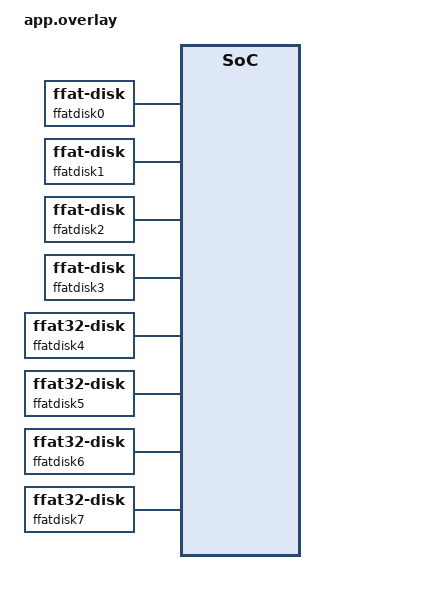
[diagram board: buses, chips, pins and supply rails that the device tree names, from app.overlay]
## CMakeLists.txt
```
# Copyright (c) 2023 Nordic Semiconductor ASA
# SPDX-License-Identifier: Apache-2.0

cmake_minimum_required(VERSION 3.28.0)

find_package(Zephyr REQUIRED HINTS $ENV{ZEPHYR_BASE})
project(test_ffat)

target_sources(app PRIVATE
    src/main.c
)
```

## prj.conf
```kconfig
# Copyright (c) 2023 Nordic Semiconductor ASA
# SPDX-License-Identifier: Apache-2.0

CONFIG_LOG=y
CONFIG_ZTEST=y

CONFIG_DISK_ACCESS=y
CONFIG_FILE_SYSTEM=y
CONFIG_FAT_FILESYSTEM_ELM=y
CONFIG_FS_FATFS_MOUNT_MKFS=n
CONFIG_FS_FATFS_MIN_SS=512
CONFIG_FS_FATFS_MAX_SS=4096
CONFIG_FS_FATFS_CUSTOM_MOUNT_POINT_COUNT=8
CONFIG_FS_FATFS_CUSTOM_MOUNT_POINTS="RAM,NAND,CF,SD,SD2,USB,USB2,USB3"
```

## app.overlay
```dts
/*
 * Copyright (c) 2023 Nordic Semiconductor ASA
 *
 * SPDX-License-Identifier: Apache-2.0
 */

/ {
	ffatdisk0 {
		compatible = "zephyr,ffat-disk";
		disk-name = "RAM";
		sector-size = <512>;
		sector-count = <32680>;
		sector-per-cluster = <1>;
	};

	ffatdisk1 {
		compatible = "zephyr,ffat-disk";
		disk-name = "NAND";
		sector-size = <512>;
		sector-count = <262144>;
		sector-per-cluster = <4>;
	};

	ffatdisk2 {
		compatible = "zephyr,ffat-disk";
		disk-name = "CF";
		sector-size = <1024>;
		sector-count = <524288>;
		sector-per-cluster = <8>;
	};

	ffatdisk3 {
		compatible = "zephyr,ffat-disk";
		disk-name = "SD";
		sector-size = <4096>;
		sector-count = <1048576>;
		sector-per-cluster = <32>;
	};

	ffatdisk4 {
		compatible = "zephyr,ffat32-disk", "zephyr,ffat-disk";
		disk-name = "SD2";
		sector-size = <512>;
		sector-count = <131072>;
		sector-per-cluster = <1>;
	};

	ffatdisk5 {
		compatible = "zephyr,ffat32-disk", "zephyr,ffat-disk";
		disk-name = "USB";
		sector-size = <512>;
		sector-count = <524288>;
		sector-per-cluster = <4>;
	};

	ffatdisk6 {
		compatible = "zephyr,ffat32-disk", "zephyr,ffat-disk";
		disk-name = "USB2";
		sector-size = <1024>;
		sector-count = <1048576>;
		sector-per-cluster = <8>;
	};

	ffatdisk7 {
		compatible = "zephyr,ffat32-disk", "zephyr,ffat-disk";
		disk-name = "USB3";
		sector-size = <4096>;
		sector-count = <16777216>;
		sector-per-cluster = <64>;
	};
};
```

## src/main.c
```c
/*
 * Copyright (c) 2023 Nordic Semiconductor ASA
 *
 * SPDX-License-Identifier: Apache-2.0
 */

#include <ff.h>
#include <string.h>
#include <zephyr/ztest.h>
#include <zephyr/fs/fs.h>
#include <zephyr/sys/byteorder.h>
#include <zephyr/storage/disk_access.h>
#include <zephyr/storage/ffatdisk.h>

#include <zephyr/logging/log.h>
LOG_MODULE_REGISTER(ffat_test, LOG_LEVEL_INF);

const char txt_test_file[] =
	"Zephyr RTOS\n"
	"Board " CONFIG_BOARD "\n"
	"Arch "CONFIG_ARCH "\n";

struct binblock {
	uint32_t s_tag;
	uint32_t b_num;
	uint8_t reserved[500];
	uint32_t e_tag;
} __packed;

BUILD_ASSERT(sizeof(struct binblock) == 512U);

static struct binblock last_bb;
static uint32_t wr_cb_anchors;
static uint32_t wr_cb_flushes;

/* Boot sector fields, offsets fixed by the FAT specification */
#define BS_RSVD_SEC_CNT		14U
#define BS_FAT_SZ16		22U
#define BS_NTRES		37U
#define BS_NTRES32		65U

#define FAT_STATE_DIRTY		BIT(0)
#define FAT16_CLN_SHUT		BIT(15)
#define FAT32_CLN_SHUT		BIT(27)

#define BF0_SIZE	(512UL * 32408UL)
#define BF1_SIZE	(2048UL * 65406UL)
#define BF2_SIZE	(8192UL * 65502UL)
#define BF3_SIZE	(131072UL * 32765UL)

#define BF4_SIZE	(512UL * 129004UL)
#define BF5_SIZE	(2048UL * 130553UL)
#define BF6_SIZE	(8192UL * 130939UL)
#define BF7_SIZE	UINT32_MAX

static int textfile_rd_cb(struct ffat_file *const f, const uint32_t block,
			  uint8_t *const buf, const uint32_t size)
{
	const uint32_t f_off = size * block;

	if (f->size > f_off) {
		uint32_t len = MIN(f->size - f_off, size);

		memcpy(buf, (uint8_t *)f->priv + f_off, len);
		LOG_DBG("Read %u bytes, block %u file offset %u, f->size %u",
			len, block, f_off, f->size);
	} else {
		LOG_INF("Offset (%u) is outside of file range (%u)", f_off, f->size);
	}

	return 0;
}

static int binfile_rd_cb(struct ffat_file *const f, const uint32_t block,
			 uint8_t *const buf, const uint32_t size)
{
	const uint32_t f_off = size * block;

	if (f->size > f_off) {
		uint32_t len = MIN(f->size - f_off, size);
		struct binblock *bb = (void *)buf;

		bb->s_tag = sys_cpu_to_le32(0xDECAFBAD);
		bb->b_num = sys_cpu_to_le32(block);
		bb->e_tag = sys_cpu_to_le32(0xDEADDA7A);

		LOG_DBG("Read %u bytes, block %u file offset %u, f->size %u",
			len, block, f_off, f->size);
	} else {
		LOG_INF("Offset (%u) is outside of file range (%u)", f_off, f->size);
	}

	return 0;
}

static int binfile_wr_cb(struct ffat_file *const f, const uint32_t block,
			 const uint8_t *const buf, const uint32_t size)
{
	const struct binblock *bb = (const void *)buf;
	const uint32_t f_off = size * block;

	if (buf == NULL) {
		LOG_INF("Host flushed the volume");
		wr_cb_flushes++;

		return 0;
	}

	if (sys_le32_to_cpu(bb->s_tag) != 0xDEADDA7A ||
	    sys_le32_to_cpu(bb->e_tag) != 0xDECAFBAD) {
		/* Not our payload */
		return -ENODATA;
	}

	if (sys_le32_to_cpu(bb->b_num) == 0U) {
		/* Start of a payload */
		memcpy(&last_bb, buf, MIN(size, sizeof(last_bb)));
		wr_cb_anchors++;

		return 1;
	}

	if (sys_le32_to_cpu(bb->b_num) != block) {
		LOG_ERR("Block index mismatch: block %u, payload block %u",
			block, sys_le32_to_cpu(bb->b_num));

		return -EINVAL;
	}

	if (f->size > f_off) {
		uint32_t len = MIN(f->size - f_off, size);

		memcpy(&last_bb, buf, MIN(len, sizeof(last_bb)));

		LOG_DBG("Write %u bytes, block %u file offset %u, f->size %u",
			len, block, f_off, f->size);
	} else {
		LOG_ERR("Offset (%u) is outside of file range (%u)", f_off, f->size);
	}

	return 0;
}

FFAT_FILE_DEFINE(test1, "RAM", "TEST_001TXT", sizeof(txt_test_file),
		 textfile_rd_cb, NULL, txt_test_file);
FFAT_FILE_DEFINE(test2, "RAM", "TEST_002TXT", sizeof(txt_test_file),
		 textfile_rd_cb, NULL, txt_test_file);
FFAT_FILE_DEFINE(test3, "RAM", "TEST_003TXT", sizeof(txt_test_file),
		 textfile_rd_cb, NULL, txt_test_file);
FFAT_FILE_DEFINE(test4, "RAM", "TEST_004TXT", sizeof(txt_test_file),
		 textfile_rd_cb, NULL, txt_test_file);
FFAT_FILE_DEFINE(test5, "RAM", "TEST_005TXT", sizeof(txt_test_file),
		 textfile_rd_cb, NULL, txt_test_file);
FFAT_FILE_DEFINE(test6, "RAM", "TEST_006TXT", sizeof(txt_test_file),
		 textfile_rd_cb, NULL, txt_test_file);
FFAT_FILE_DEFINE(test7, "RAM", "TEST_007TXT", sizeof(txt_test_file),
		 textfile_rd_cb, NULL, txt_test_file);
FFAT_FILE_DEFINE(test8, "RAM", "TEST_008TXT", sizeof(txt_test_file),
		 textfile_rd_cb, NULL, txt_test_file);
FFAT_FILE_DEFINE(test9, "RAM", "TEST_009TXT", sizeof(txt_test_file),
		 textfile_rd_cb, NULL, txt_test_file);
FFAT_FILE_DEFINE(test10, "RAM", "TEST_010TXT", sizeof(txt_test_file),
		 textfile_rd_cb, NULL, txt_test_file);
FFAT_FILE_DEFINE(test11, "RAM", "TEST_011TXT", sizeof(txt_test_file),
		 textfile_rd_cb, NULL, txt_test_file);
FFAT_FILE_DEFINE(test12, "RAM", "TEST_012TXT", sizeof(txt_test_file),
		 textfile_rd_cb, NULL, txt_test_file);
FFAT_FILE_DEFINE(test13, "RAM", "TEST_013TXT", sizeof(txt_test_file),
		 textfile_rd_cb, NULL, txt_test_file);
FFAT_FILE_DEFINE(test14, "RAM", "TEST_014TXT", sizeof(txt_test_file),
		 textfile_rd_cb, NULL, txt_test_file);
FFAT_FILE_DEFINE(test15, "RAM", "TEST_000BIN", BF0_SIZE,
		 binfile_rd_cb, binfile_wr_cb, NULL);

FFAT_FILE_DEFINE(test16, "NAND", "TEST_001BIN", BF1_SIZE,
		 binfile_rd_cb, binfile_wr_cb, NULL);
FFAT_FILE_DEFINE(test17, "NAND", "TEST_001TXT", sizeof(txt_test_file),
		 textfile_rd_cb, NULL, txt_test_file);

FFAT_FILE_DEFINE(test18, "CF", "TEST_002BIN", BF2_SIZE,
		 binfile_rd_cb, binfile_wr_cb, NULL);
FFAT_FILE_DEFINE(test19, "CF", "TEST_001TXT", sizeof(txt_test_file),
		 textfile_rd_cb, NULL, txt_test_file);

FFAT_FILE_DEFINE(test20, "SD", "TEST_003BIN", BF3_SIZE,
		 binfile_rd_cb, binfile_wr_cb, NULL);
FFAT_FILE_DEFINE(test21, "SD", "TEST_001TXT", sizeof(txt_test_file),
		 textfile_rd_cb, NULL, txt_test_file);

FFAT_FILE_DEFINE(test22, "SD2", "TEST_004BIN", BF4_SIZE,
		 binfile_rd_cb, binfile_wr_cb, NULL);
FFAT_FILE_DEFINE(test23, "SD2", "TEST_001TXT", sizeof(txt_test_file),
		 textfile_rd_cb, NULL, txt_test_file);

FFAT_FILE_DEFINE(test24, "USB", "TEST_005BIN", BF5_SIZE,
		 binfile_rd_cb, binfile_wr_cb, NULL);
FFAT_FILE_DEFINE(test25, "USB", "TEST_001TXT", sizeof(txt_test_file),
		 textfile_rd_cb, NULL, txt_test_file);

FFAT_FILE_DEFINE(test26, "USB2", "TEST_006BIN", BF6_SIZE,
		 binfile_rd_cb, binfile_wr_cb, NULL);
FFAT_FILE_DEFINE(test27, "USB2", "TEST_001TXT", sizeof(txt_test_file),
		 textfile_rd_cb, NULL, txt_test_file);

FFAT_FILE_DEFINE(test28, "USB3", "TEST_007BIN", BF7_SIZE,
		 binfile_rd_cb, binfile_wr_cb, NULL);
FFAT_FILE_DEFINE(test29, "USB3", "TEST_001TXT", sizeof(txt_test_file),
		 textfile_rd_cb, NULL, txt_test_file);

static union {
	struct binblock bb;
	uint8_t a[4096];
} ffat_test_buf;

static FATFS fatfs[8];

static struct fs_mount_t mnt0 = {
	.type = FS_FATFS,
	.mnt_point = "/RAM:",
	.fs_data = &fatfs[0],
};

static struct fs_mount_t mnt1 = {
	.type = FS_FATFS,
	.mnt_point = "/NAND:",
	.fs_data = &fatfs[1],
};

static struct fs_mount_t mnt2 = {
	.type = FS_FATFS,
	.mnt_point = "/CF:",
	.fs_data = &fatfs[2],
};

static struct fs_mount_t mnt3 = {
	.type = FS_FATFS,
	.mnt_point = "/SD:",
	.fs_data = &fatfs[3],
};

static struct fs_mount_t mnt4 = {
	.type = FS_FATFS,
	.mnt_point = "/SD2:",
	.fs_data = &fatfs[4],
};

static struct fs_mount_t mnt5 = {
	.type = FS_FATFS,
	.mnt_point = "/USB:",
	.fs_data = &fatfs[5],
};

static struct fs_mount_t mnt6 = {
	.type = FS_FATFS,
	.mnt_point = "/USB2:",
	.fs_data = &fatfs[6],
};

static struct fs_mount_t mnt7 = {
	.type = FS_FATFS,
	.mnt_point = "/USB3:",
	.fs_data = &fatfs[7],
};

struct ffat_file_info {
	const char *path;
	fs_mode_t flags;
	size_t size;
};

const struct ffat_file_info file_path0[] = {
	{.path = "/RAM:/TEST_001.TXT", .flags = FS_O_READ, .size = 0,},
	{.path = "/RAM:/TEST_002.TXT", .flags = FS_O_READ, .size = 0,},
	{.path = "/RAM:/TEST_003.TXT", .flags = FS_O_READ, .size = 0,},
	{.path = "/RAM:/TEST_004.TXT", .flags = FS_O_READ, .size = 0,},
	{.path = "/RAM:/TEST_005.TXT", .flags = FS_O_READ, .size = 0,},
	{.path = "/RAM:/TEST_006.TXT", .flags = FS_O_READ, .size = 0,},
	{.path = "/RAM:/TEST_007.TXT", .flags = FS_O_READ, .size = 0,},
	{.path = "/RAM:/TEST_008.TXT", .flags = FS_O_READ, .size = 0,},
	{.path = "/RAM:/TEST_009.TXT", .flags = FS_O_READ, .size = 0,},
	{.path = "/RAM:/TEST_010.TXT", .flags = FS_O_READ, .size = 0,},
	{.path = "/RAM:/TEST_011.TXT", .flags = FS_O_READ, .size = 0,},
	{.path = "/RAM:/TEST_012.TXT", .flags = FS_O_READ, .size = 0,},
	{.path = "/RAM:/TEST_013.TXT", .flags = FS_O_READ, .size = 0,},
	{.path = "/RAM:/TEST_014.TXT", .flags = FS_O_READ, .size = 0,},
	{.path = "/RAM:/TEST_000.BIN", .flags = FS_O_RDWR, .size = BF0_SIZE,},
};

const struct ffat_file_info file_path1[] = {
	{.path = "/NAND:/TEST_001.TXT", .flags = FS_O_READ, .size = 0,},
	{.path = "/NAND:/TEST_001.BIN", .flags = FS_O_RDWR, .size = BF1_SIZE},
};

const struct ffat_file_info file_path2[] = {
	{.path = "/CF:/TEST_001.TXT", .flags = FS_O_READ, .size = 0,},
	{.path = "/CF:/TEST_002.BIN", .flags = FS_O_RDWR, .size = BF2_SIZE},
};

const struct ffat_file_info file_path3[] = {
	{.path = "/SD:/TEST_001.TXT", .flags = FS_O_READ, .size = 0,},
	{.path = "/SD:/TEST_003.BIN", .flags = FS_O_RDWR, .size = BF3_SIZE},
};

const struct ffat_file_info file_path4[] = {
	{.path = "/SD2:/TEST_001.TXT", .flags = FS_O_READ, .size = 0,},
	{.path = "/SD2:/TEST_004.BIN", .flags = FS_O_RDWR, .size = BF4_SIZE},
};

const struct ffat_file_info file_path5[] = {
	{.path = "/USB:/TEST_001.TXT", .flags = FS_O_READ, .size = 0,},
	{.path = "/USB:/TEST_005.BIN", .flags = FS_O_RDWR, .size = BF5_SIZE},
};

const struct ffat_file_info file_path6[] = {
	{.path = "/USB2:/TEST_001.TXT", .flags = FS_O_READ, .size = 0,},
	{.path = "/USB2:/TEST_006.BIN", .flags = FS_O_RDWR, .size = BF6_SIZE},
};

const struct ffat_file_info file_path7[] = {
	{.path = "/USB3:/TEST_001.TXT", .flags = FS_O_READ, .size = 0,},
	{.path = "/USB3:/TEST_007.BIN", .flags = FS_O_RDWR, .size = BF7_SIZE},
};

static int test_mount_ffat_disk(struct fs_mount_t *const mnt)
{
	int err = 0;

	mnt->flags = FS_MOUNT_FLAG_NO_FORMAT;
	err = fs_mount(mnt);

	if (err < 0) {
		TC_PRINT("Failed to open ffat disk %s (%d)\n",
			 mnt->mnt_point, err);
		return TC_FAIL;
	}

	return TC_PASS;
}

static int test_umount_ffat_disk(struct fs_mount_t *const mnt)
{
	int err = 0;

	err = fs_unmount(mnt);

	if (err < 0) {
		TC_PRINT("Failed to unmount ffat disk %s (%d)\n",
			 mnt->mnt_point, err);
		return TC_FAIL;
	}

	return TC_PASS;
}

static int ffat_test_open(struct fs_file_t *const f,
			  const struct ffat_file_info *const finfo)
{
	struct fs_dirent entry;
	int err;

	err = fs_stat(finfo->path, &entry);
	if (err) {
		return TC_FAIL;
	}

	err = fs_open(f, finfo->path, finfo->flags);
	if (err) {
		TC_PRINT("Failed to open file %s (%d)\n", finfo->path, err);
		return err;
	}

	return err;
}

static int test_file_rw_bin(struct fs_file_t *const f,
			    const size_t fsize, const size_t bsize)
{
	const uint32_t blocks  = fsize / bsize;
	ssize_t len;
	int err;

	err = fs_seek(f, 0, FS_SEEK_SET);
	if (err) {
		TC_PRINT("Failed to reset file position (%d)\n", err);
		return err;
	}

	TC_PRINT("File size: %zu, block size: %zu, blocks: %u\n", fsize, bsize, blocks);

	for (uint32_t n = 0; n < blocks; n++) {
		len = fs_read(f, ffat_test_buf.a, MIN(bsize, sizeof(ffat_test_buf)));
		if (len != bsize) {
			TC_PRINT("Failed to read file block %u (%zd)\n", n, len);
			return len;
		}

		/* Verify that the file block was read successfully */
		if (sys_le32_to_cpu(ffat_test_buf.bb.s_tag) != 0xDECAFBAD ||
		    sys_le32_to_cpu(ffat_test_buf.bb.b_num) != n ||
		    sys_le32_to_cpu(ffat_test_buf.bb.e_tag) != 0xDEADDA7A) {
			TC_PRINT("r %u: s_tag %u b_num %u e_tag %u\n",
				 n,
				 sys_le32_to_cpu(ffat_test_buf.bb.s_tag),
				 sys_le32_to_cpu(ffat_test_buf.bb.b_num),
				 sys_le32_to_cpu(ffat_test_buf.bb.e_tag));
			return TC_FAIL;
		}
	}

	err = fs_seek(f, 0, FS_SEEK_SET);
	if (err) {
		TC_PRINT("Reset file position failed (%d)\n", err);
		return err;
	}

	for (uint32_t n = 0; n < blocks; n++) {
		ffat_test_buf.bb.s_tag = sys_cpu_to_le32(0xDEADDA7A);
		ffat_test_buf.bb.b_num = sys_cpu_to_le32(n);
		ffat_test_buf.bb.e_tag = sys_cpu_to_le32(0xDECAFBAD);

		len = fs_write(f, ffat_test_buf.a, MIN(bsize, sizeof(ffat_test_buf)));
		if (len != bsize) {
			TC_PRINT("Failed to write file block %u (%zd)\n", n, len);
			return len;
		}

		/* Verify that writing to the file block was successful */
		if (sys_le32_to_cpu(last_bb.s_tag) != 0xDEADDA7A ||
		    sys_le32_to_cpu(last_bb.b_num) != n ||
		    sys_le32_to_cpu(last_bb.e_tag) != 0xDECAFBAD) {
			TC_PRINT("w %u: s_tag %u b_num %u e_tag %u\n",
				 n,
				 sys_le32_to_cpu(last_bb.s_tag),
				 sys_le32_to_cpu(last_bb.b_num),
				 sys_le32_to_cpu(last_bb.e_tag));
			return TC_FAIL;
		}
	}

	return TC_PASS;
}

static int test_file_r_txt(struct fs_file_t *const f)
{
	ssize_t len;
	int err;

	err = fs_seek(f, 0, FS_SEEK_SET);
	if (err) {
		TC_PRINT("Reset file position failed (%d)\n", err);
		return err;
	}

	memset(ffat_test_buf.a, 0, sizeof(ffat_test_buf));

	len = fs_read(f, ffat_test_buf.a, sizeof(txt_test_file));
	if (len < 0) {
		TC_PRINT("Failed to read txt file (%zd)\n", len);
		return len;
	}

	if (memcmp(txt_test_file, ffat_test_buf.a, sizeof(txt_test_file))) {
		TC_PRINT("The read file differs from the original %s\n", ffat_test_buf.a);
		return TC_FAIL;
	}

	return TC_PASS;
}

/*
 * A file created by the host is placed in clusters that no FFAT file owns.
 * It requires a free root directory entry and free clusters on the disk.
 * The test is for the path where the backend anchors the payload itself.
 */
static int test_file_w_stream(struct fs_mount_t *const mnt, const char *const path)
{
	struct fs_file_t filep;
	struct fs_statvfs stat;
	size_t bsize;
	ssize_t len;
	int err;

	err = test_mount_ffat_disk(mnt);
	if (err) {
		return err;
	}

	err = fs_statvfs(mnt->mnt_point, &stat);
	if (err) {
		TC_PRINT("Failed to retrieve vfs statistics (%d)\n", err);
		return err;
	}

	bsize = stat.f_bsize;
	wr_cb_anchors = 0;
	memset(&filep, 0, sizeof(filep));

	err = fs_open(&filep, path, FS_O_CREATE | FS_O_WRITE);
	if (err) {
		TC_PRINT("Failed to create file %s (%d)\n", path, err);
		return err;
	}

	for (uint32_t n = 0; n < 4U; n++) {
		memset(ffat_test_buf.a, 0, sizeof(ffat_test_buf));
		ffat_test_buf.bb.s_tag = sys_cpu_to_le32(0xDEADDA7A);
		ffat_test_buf.bb.b_num = sys_cpu_to_le32(n);
		ffat_test_buf.bb.e_tag = sys_cpu_to_le32(0xDECAFBAD);

		len = fs_write(&filep, ffat_test_buf.a, MIN(bsize, sizeof(ffat_test_buf)));
		if (len != bsize) {
			TC_PRINT("Failed to write block %u (%zd)\n", n, len);
			fs_close(&filep);
			return TC_FAIL;
		}
	}

	fs_close(&filep);

	/* Only the payload start is anchored */
	if (wr_cb_anchors != 1U) {
		TC_PRINT("Payload anchored %u times\n", wr_cb_anchors);
		return TC_FAIL;
	}

	err = test_umount_ffat_disk(mnt);
	if (err) {
		return err;
	}

	return TC_PASS;
}

/* A block without the payload framing must not fail the host write */
static int test_file_w_unframed(struct fs_mount_t *const mnt, const char *const path)
{
	struct fs_file_t filep;
	struct fs_statvfs stat;
	size_t bsize;
	ssize_t len;
	int err;

	err = test_mount_ffat_disk(mnt);
	if (err) {
		return err;
	}

	err = fs_statvfs(mnt->mnt_point, &stat);
	if (err) {
		TC_PRINT("Failed to retrieve vfs statistics (%d)\n", err);
		return err;
	}

	bsize = stat.f_bsize;
	wr_cb_anchors = 0;
	memset(&last_bb, 0, sizeof(last_bb));
	memset(ffat_test_buf.a, 0xA5, sizeof(ffat_test_buf));
	memset(&filep, 0, sizeof(filep));

	err = fs_open(&filep, path, FS_O_CREATE | FS_O_WRITE);
	if (err) {
		TC_PRINT("Failed to open file %s (%d)\n", path, err);
		return err;
	}

	len = fs_write(&filep, ffat_test_buf.a, MIN(bsize, sizeof(ffat_test_buf)));
	fs_close(&filep);

	if (len != bsize) {
		TC_PRINT("Failed to write unframed block (%zd)\n", len);
		return TC_FAIL;
	}

	if (wr_cb_anchors != 0U) {
		TC_PRINT("Unframed block anchored a payload\n");
		return TC_FAIL;
	}

	if (last_bb.s_tag != 0U) {
		TC_PRINT("Unframed block was consumed\n");
		return TC_FAIL;
	}

	err = test_umount_ffat_disk(mnt);
	if (err) {
		return err;
	}

	return TC_PASS;
}

static bool ffat_bs_is_fat32(const uint8_t *const bs)
{
	return sys_get_le16(&bs[BS_FAT_SZ16]) == 0U;
}

/*
 * ELF FAT does not allow the dirty flag to be set. Test it directly using
 * disk_access_write().
 */
static int test_dirty_flag_bs(const char *const disk)
{
	const uint32_t flushes = wr_cb_flushes;
	uint8_t *const bs = ffat_test_buf.a;
	uint32_t off;
	int err;

	err = disk_access_init(disk);
	if (err) {
		TC_PRINT("Failed to init disk %s (%d)\n", disk, err);
		return TC_FAIL;
	}

	err = disk_access_read(disk, bs, 0U, 1U);
	if (err) {
		TC_PRINT("Failed to read boot sector (%d)\n", err);
		return TC_FAIL;
	}

	off = ffat_bs_is_fat32(bs) ? BS_NTRES32 : BS_NTRES;

	/* Mark dirty first */
	bs[off] |= FAT_STATE_DIRTY;
	err = disk_access_write(disk, bs, 0U, 1U);
	if (err) {
		TC_PRINT("Failed to write boot sector (%d)\n", err);
		return TC_FAIL;
	}

	if (wr_cb_flushes != flushes) {
		TC_PRINT("Setting the dirty flag must not notify the backend\n");
		return TC_FAIL;
	}

	bs[off] &= ~FAT_STATE_DIRTY;
	err = disk_access_write(disk, bs, 0U, 1U);
	if (err) {
		TC_PRINT("Failed to write boot sector (%d)\n", err);
		return TC_FAIL;
	}

	if (wr_cb_flushes != flushes + 1U) {
		TC_PRINT("Cleaning the dirty flag must notify the backend\n");
		return TC_FAIL;
	}

	return disk_access_ioctl(disk, DISK_IOCTL_CTRL_DEINIT, NULL);
}

/*
 * ELF FAT does not allow the clean bit to be set. Test it directly using
 * disk_access_write().
 */
static int test_dirty_flag_fat(const char *const disk)
{
	const uint32_t flushes = wr_cb_flushes;
	uint8_t *const buf = ffat_test_buf.a;
	uint32_t fat1_start;
	bool fat32;
	int err;

	err = disk_access_init(disk);
	if (err) {
		TC_PRINT("Failed to init disk %s (%d)\n", disk, err);
		return TC_FAIL;
	}

	err = disk_access_read(disk, buf, 0U, 1U);
	if (err) {
		TC_PRINT("Failed to read boot sector (%d)\n", err);
		return TC_FAIL;
	}

	fat32 = ffat_bs_is_fat32(buf);
	fat1_start = sys_get_le16(&buf[BS_RSVD_SEC_CNT]);

	err = disk_access_read(disk, buf, fat1_start, 1U);
	if (err) {
		TC_PRINT("Failed to read FAT sector 0 (%d)\n", err);
		return TC_FAIL;
	}

	/* FAT[1] follows FAT[0], clearing the clean bit marks the volume dirty */
	if (fat32) {
		sys_put_le32(sys_get_le32(&buf[4]) & ~FAT32_CLN_SHUT, &buf[4]);
	} else {
		sys_put_le16(sys_get_le16(&buf[2]) & ~FAT16_CLN_SHUT, &buf[2]);
	}

	err = disk_access_write(disk, buf, fat1_start, 1U);
	if (err) {
		TC_PRINT("Failed to write FAT sector 0 (%d)\n", err);
		return TC_FAIL;
	}

	if (wr_cb_flushes != flushes) {
		TC_PRINT("Clearing the clean bit must not notify the backend\n");
		return TC_FAIL;
	}

	if (fat32) {
		sys_put_le32(sys_get_le32(&buf[4]) | FAT32_CLN_SHUT, &buf[4]);
	} else {
		sys_put_le16(sys_get_le16(&buf[2]) | FAT16_CLN_SHUT, &buf[2]);
	}

	err = disk_access_write(disk, buf, fat1_start, 1U);
	if (err) {
		TC_PRINT("Failed to write FAT sector 0 (%d)\n", err);
		return TC_FAIL;
	}

	if (wr_cb_flushes != flushes + 1U) {
		TC_PRINT("Setting the clean bit must notify the backend\n");
		return TC_FAIL;
	}

	return disk_access_ioctl(disk, DISK_IOCTL_CTRL_DEINIT, NULL);
}

static int test_files_rw(struct fs_mount_t *const mnt,
			 const struct ffat_file_info *const finfo, const size_t size)
{
	struct fs_file_t filep;
	struct fs_statvfs stat;
	int err;

	err = test_mount_ffat_disk(mnt);
	if (err) {
		return err;
	}

	err = fs_statvfs(mnt->mnt_point, &stat);
	if (err) {
		TC_PRINT("Failed to retrieve vfs statistics (%d)\n", err);
		return err;
	}

	TC_PRINT("FS block size: %u (cluster size: %u), fs blocks: %u\n",
		 stat.f_bsize, stat.f_frsize, stat.f_blocks);

	for (int i = 0; i < size; i++) {
		memset(&filep, 0, sizeof(filep));

		err = ffat_test_open(&filep, &finfo[i]);
		if (err) {
			return err;
		}

		if (finfo[i].flags == FS_O_RDWR) {
			err = test_file_rw_bin(&filep, finfo[i].size, stat.f_bsize);
		} else {
			err = test_file_r_txt(&filep);
		}

		fs_close(&filep);
		if (err) {
			TC_PRINT("Failed on file %s\n", finfo[i].path);
			return err;
		}

		TC_PRINT("Test on %s passed\n", finfo[i].path);
	}

	err = test_umount_ffat_disk(mnt);
	if (err) {
		return err;
	}

	return TC_PASS;
}

ZTEST(ffat_test, test_fat16_a)
{
	zassert_true(test_files_rw(&mnt0, file_path0, ARRAY_SIZE(file_path0)) == TC_PASS);
}

ZTEST(ffat_test, test_fat16_b)
{
	zassert_true(test_files_rw(&mnt1, file_path1, ARRAY_SIZE(file_path1)) == TC_PASS);
}

ZTEST(ffat_test, test_fat16_c)
{
	zassert_true(test_files_rw(&mnt2, file_path2, ARRAY_SIZE(file_path2)) == TC_PASS);
}

ZTEST(ffat_test, test_fat16_d)
{
	zassert_true(test_files_rw(&mnt3, file_path3, ARRAY_SIZE(file_path3)) == TC_PASS);
}

ZTEST(ffat_test, test_fat32_a)
{
	zassert_true(test_files_rw(&mnt4, file_path4, ARRAY_SIZE(file_path4)) == TC_PASS);
}

ZTEST(ffat_test, test_fat32_b)
{
	zassert_true(test_files_rw(&mnt5, file_path5, ARRAY_SIZE(file_path5)) == TC_PASS);
}

ZTEST(ffat_test, test_fat32_c)
{
	zassert_true(test_files_rw(&mnt6, file_path6, ARRAY_SIZE(file_path6)) == TC_PASS);
}

ZTEST(ffat_test, test_fat32_d)
{
	zassert_true(test_files_rw(&mnt7, file_path7, ARRAY_SIZE(file_path7)) == TC_PASS);
}

ZTEST(ffat_test, test_stream_write)
{
	zassert_true(test_file_w_stream(&mnt7, "/USB3:/STREAM.BIN") == TC_PASS);
}

/* FFAT file owns the clusters, the block index is exact */
ZTEST(ffat_test, test_stream_write_unframed)
{
	zassert_true(test_file_w_unframed(&mnt7, "/USB3:/TEST_007.BIN") == TC_PASS);
}

/* No FFAT file owns the clusters (new file), the payload is not anchored */
ZTEST(ffat_test, test_stream_write_unframed_new)
{
	zassert_true(test_file_w_unframed(&mnt7, "/USB3:/UNFRAMED.BIN") == TC_PASS);
}

ZTEST(ffat_test, test_dirty_flag_bs_fat16)
{
	zassert_true(test_dirty_flag_bs("RAM") == TC_PASS);
}

ZTEST(ffat_test, test_dirty_flag_bs_fat32)
{
	zassert_true(test_dirty_flag_bs("USB3") == TC_PASS);
}

ZTEST(ffat_test, test_dirty_flag_fat_fat16)
{
	zassert_true(test_dirty_flag_fat("RAM") == TC_PASS);
}

ZTEST(ffat_test, test_dirty_flag_fat_fat32)
{
	zassert_true(test_dirty_flag_fat("USB3") == TC_PASS);
}

ZTEST_SUITE(ffat_test, NULL, NULL, NULL, NULL, NULL);
```
